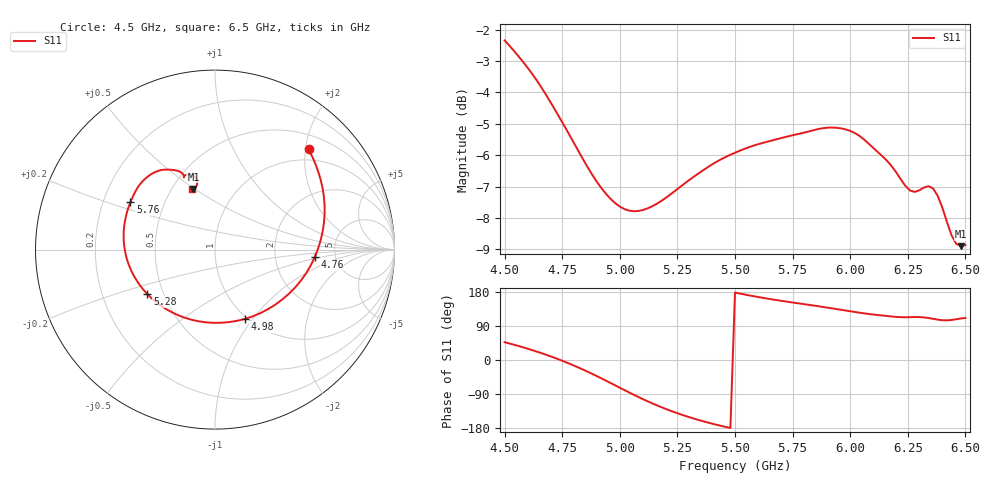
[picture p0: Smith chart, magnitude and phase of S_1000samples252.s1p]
! TOUCHSTONE file generated by CST MICROWAVE STUDIO
! Date and time: Thu Oct 27 12:56:22 2022
! Project name: L.cst
! Parameters = {Di=1.27; Epsilon_r=1.56; InnerDiameter=1.27; Length=2; Lf=10; Lg=60; OuterConductorThickness=0.2921; OuterDiameter=3.6; Wf=3; Wp=41.2; de=1.5; df=6.8; g=0.8; gx=3.21188; gy=0.410536; h=2.34; hf=1.524; px=13.5384; py=8.3615; w=9.7; wx=10.3265; wy=7.95097}
! Header version: 2018
! Port assignment regex: !\s*Touchstone port\s*([0-9]+)\s*=\s*(CST MWS port|CST DS port)\s*([0-9]+|Zmin|Zmax)\s*\(\"(.*)\"\)(\s*mode\s*([0-9]+))?.*
! Touchstone port assignment:
! Touchstone port 1 = CST MWS port 1 ("")
# GHz S DB R 50
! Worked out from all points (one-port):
!   101 points, 4.5 GHz to 6.5 GHz, reference 50 ohm
!   lowest |S11| = -8.9 dB at 6.48 GHz (marker M1), VSWR 2.12, Z = 31.8 + j24.7 ohm
!   |S11| at or under -10 dB: nowhere
!   S11 on the Smith chart (normalised r, x): 4.5 GHz: 0.77, +2.06; 4.76 GHz: 3.46, -0.42; 4.98 GHz: 0.97, -0.91; 5.28 GHz: 0.41, -0.25; 5.76 GHz: 0.32, +0.24; 6.5 GHz: 0.63, +0.49
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4.5  -2.35 47.0
4.58  -3.03 33.5
4.64  -3.62 22.1
4.7  -4.32 9.5
4.76  -5.08 -4.4
4.82  -5.86 -19.8
4.88  -6.62 -36.5
4.98  -7.53 -66.9
5  -7.64 -73.2
5.06  -7.79 -91.5
5.12  -7.70 -108.8
5.2  -7.36 -129.3
5.26  -7.02 -142.6
5.28  -6.91 -146.7
5.38  -6.39 -164.7
5.5  -5.92 178.0
5.62  -5.61 164.1
5.76  -5.35 150.8
5.88  -5.14 140.2
6  -5.23 128.7
6.14  -6.04 117.4
6.22  -6.77 113.0
6.26  -7.13 113.0
6.32  -7.03 112.4
6.36  -7.06 108.6
6.42  -8.13 104.6
6.48  -8.90 109.5
6.5  -8.86 110.9
